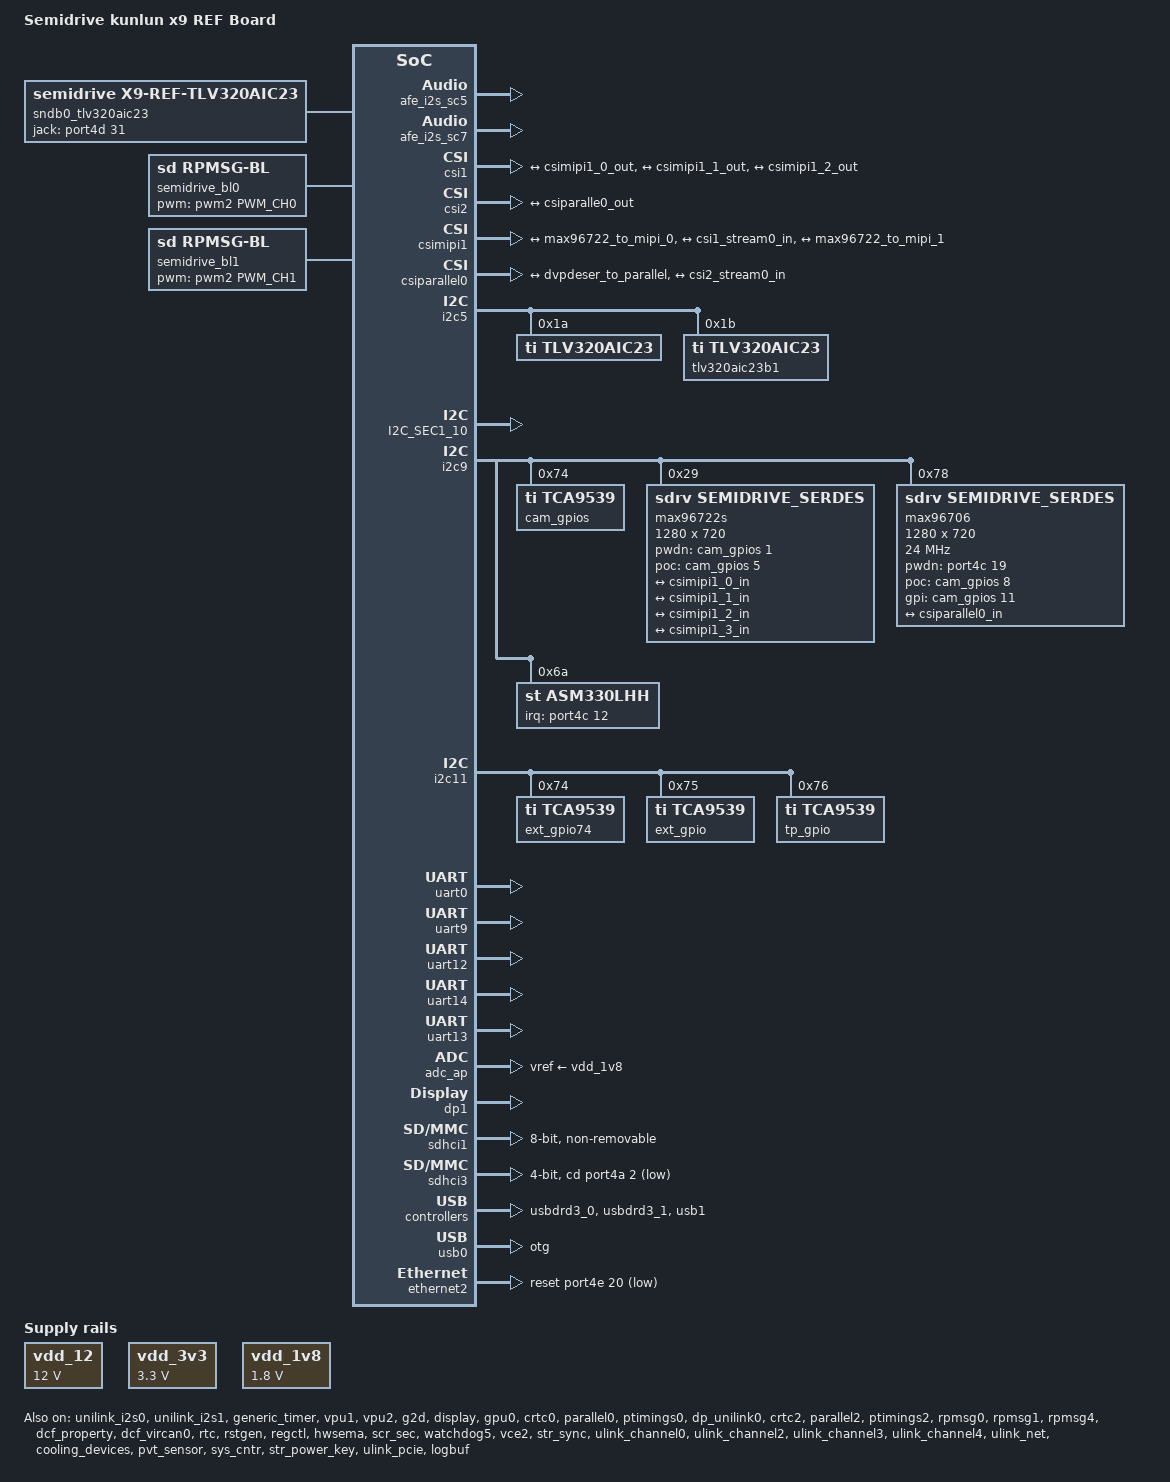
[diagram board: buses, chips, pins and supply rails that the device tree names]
/*
 * Semidrive kunlun platform DTS file
 *
 * Copyright (C) 2019, Semidrive  Communications Inc.
 *
 * This file is licensed under a dual GPLv2 or X11 license.
 */

/dts-v1/;

#include "x9_ultra_ecockpit.dtsi"
#include "x9_ultra_ref_ivi-clk-ctrl_b.dtsi"
#include "lcd-timings.dtsi"
#include <dt-bindings/pinctrl/pins-sdx9.h>
#include <dt-bindings/memmap/x9_ultra/projects/cain1_virt_emmc/side_b/image_cfg.h>
#include <dt-bindings/memory/sdrv_ion.h>
#include <dt-bindings/rpmsg/sd,x9hp-ap1.h>
#include <dt-bindings/backlight/sdrv_backlight.h>
#include <dt-bindings/media/sdrv_csi.h>
#include <dt-bindings/soc/sdrv-unilink-x9u.h>
/ {
	model = "Semidrive kunlun x9 REF Board";

	compatible = "semidrive,kunlun";

	aliases {
		serial0 = &uart14;
		serial1 = &uart9;
		serial2 = &uart12;
		serial3 = &uart13;
		serial4 = &uart0;
		ethernet2 = &ethernet2;
	};

	memory@50000000 {
		device_type = "memory";
		reg = <HIGH32(AP1_REE_MEMBASE + DTB_MEMSIZE) LOW32(AP1_REE_MEMBASE + DTB_MEMSIZE) HIGH32(AP1_KERNEL_MEMSIZE) LOW32(AP1_KERNEL_MEMSIZE) \
		       HIGH32(AP1_2ND_MEMBASE) LOW32(AP1_2ND_MEMBASE) HIGH32(AP1_2ND_MEMSIZE) LOW32(AP1_2ND_MEMSIZE) \
		       0x0 (VDSP_SHARE_MEMBASE+0x4000) 0x0 (VDSP_SHARE_MEMSIZE-0x4000)	\
			   0x0 0x7b000000 0x0 0x1000000>;
	};

	reserved-memory {
		#address-cells = <2>;
		#size-cells = <2>;
		ranges;

		crashdump {
			/* reserve preloader mem for crashdump */
			compatibel = "crashdump";
			reg = <HIGH32(AP1_PRELOADER_MEMBASE) LOW32(AP1_PRELOADER_MEMBASE) 0 AP1_PRELOADER_MEMSIZE>;
		};

		ramoops {
			compatible = "ramoops";
			reg = <HIGH32(AP1_BOARD_RAMDISK_MEMBASE + AP1_BOARD_RAMDISK_MEMSIZE + 0x1000000)
				LOW32(AP1_BOARD_RAMDISK_MEMBASE + AP1_BOARD_RAMDISK_MEMSIZE + 0x1000000) 0x0 0x100000>;
			record-size = <0x60000>;
			console-size = <0x40000>;
			ftrace-size = <0x20000>;
			pmsg-size = <0x40000>;
		};

		/* Default Common CMA Pool */
		/* QUIRK: Must be kept in the lower 4096 MiBs of DRAM banks for VE */
		linux,cma {
			compatible = "shared-dma-pool";
			reusable;
			size = <0x0 0x40000000>; /* 1G */
			/* 4GB maximum in case of 32-bit only capable devices */
			alloc-ranges = <0x0 0x0 0x0 0xffffffff>;
			linux,cma-default;
		};

		rproc_0_safety: rproc@0 {
			compatible = "shared-dma-pool";
			no-map;
			reg = <0x0 RPMSG0_MEM_POOL_BASE 0x0 RPMSG0_MEM_POOL_SIZE>;
		};

		rproc_1_secure: rproc@1 {
			compatible = "shared-dma-pool";
			no-map;
			reg = <0x0 RPMSG1_MEM_POOL_BASE 0x0 RPMSG1_MEM_POOL_SIZE>;
		};

		rproc_ap: rproc@4 {
			compatible = "shared-dma-pool";
			no-map;
			reg = <0x0 RPMSG3_MEM_POOL_BASE 0x0 RPMSG3_MEM_POOL_SIZE>;
		};

		xrp_reserved: xrp@0 {
			compatible = "shared-dma-pool";
			status = "okay";
			no-map;
			reg = <0x0 VDSP_SHARE_MEMBASE 0x0 0x4000>;
		};

		xrp_shared: xrp,shmem {
			reg = <0x0 (VDSP_SHARE_MEMBASE+0x4000) 0x0 (VDSP_SHARE_MEMSIZE-0x4000)>;
		};
	};

	chosen {
		bootargs = "skip_initramfs noinitrd root=/dev/mmcblk0p15 rootfstype=ext4 rootwait ro init=/sbin/init highres=1 nr_cpus=6 earlycon loglevel=11 console=ttyS0,115200n8 fbcon=map:1 psplash=false";
		stdout-path = "serial0";
	};

	vdd_12: fixed-vdd_12 {
		compatible = "regulator-fixed";
		regulator-name = "vdd_12v";
		regulator-min-microvolt = <12000000>;
		regulator-max-microvolt = <12000000>;
	};

	vdd_3v3: fixed-vdd_3v3 {
		compatible = "regulator-fixed";
		regulator-name = "vdd_3v3";
		regulator-min-microvolt = <3300000>;
		regulator-max-microvolt = <3300000>;
	};

	vdd_1v8: fixed-vdd_1v8 {
		compatible = "regulator-fixed";
		regulator-name = "vdd_1v8";
		regulator-min-microvolt = <1800000>;
		regulator-max-microvolt = <1800000>;
	};

	sndb0_tlv320aic23: sndb0@tlv320aic23 {
		compatible = "semidrive,x9-ref-tlv320aic23";
		semidrive,audio-codec = <&tlv320aic23>;
		semidrive,jack-gpio = <&port4d 31 0>; //SOC_B_I2S_MC_SD3_HP_DET1
		semidrive,unilink_i2s;  //use device 1 as virtual i2s device node
		status = "okay";
	};

	sndb1_tlv320aic23: sndb1@tlv320aic23 {
		compatible = "semidrive,x9-msb1-tlv320aic23";
		semidrive,audio-codec = <&tlv320aic23b1>;
		semidrive,jack-gpio-b1 = <&port4b 29 0>; //SOC_GPIO_C13_HP_DET
		status = "okay";
	};

	vi2s_unilink0: vi2s_unilink@0 {
		compatible = "semidrive,sdrv-i2s-unilink";
		audio-mode = <1>;
		server-ip  = "172.20.2.35";
		server-port = <15535>;
		local-port = <15535>;
		buffer-size = <4096>;
		status = "okay";
	};

	vi2s_unilink1: vi2s_unilink@1 {
		compatible = "semidrive,sdrv-i2s-unilink";
		audio-mode = <0>;
		server-ip  = "172.20.2.32";
		server-port = <8155>;
		local-port = <8155>;
		buffer-size = <4096>;
		status = "okay";
	};

	sound_remote: sound@remote {
		compatible = "semidrive,x9-ref-mach-remote";
		status = "disabled";
	};

	semidrive_ts0:semidrive_ts@0 {
		mboxes = <&mbox 0x70 0x7000>;
		touchscreen-id = /bits/ 16 <0>;
		compatible = "sd,safetouch";
	};
	semidrive_ts1:semidrive_ts@1 {
		mboxes = <&mbox 0x71 0x7100>;
		touchscreen-id = /bits/ 16 <1>;
		compatible = "sd,safetouch";
	};
	semidrive_ts2:semidrive_ts@2 {
		mboxes = <&mbox 0x72 0x7200>;
		touchscreen-id = /bits/ 16 <2>;
		compatible = "sd,safetouch";
	};
	semidrive_ts3:semidrive_ts@3 {
		mboxes = <&mbox 0x73 0x7300>;
		touchscreen-id = /bits/ 16 <3>;
		compatible = "sd,safetouch";
	};

	semidrive_bl0: panel0-backlight {
		compatible = "sd,rpmsg-bl"; /*"sd,rpmsg-bl" for rpmsg; "pwm-backlight" for native*/
		bl_screen-id = /bits/ 32 <1>;
		pwms = <&pwm2 PWM_CH0 PWM_FREQUENCY PWM_POLARITY_INVERSED>;
		brightness-levels = <0 1 2 3 4 5 6 7 8 9 10 11 12 13 14 15 16
							 17 18 19 20 21 22 23 24 25 26 27 28 29 30
							 31 32 33 34 35 36 37 38 39 40 41 42 43 44
							 45 46 47 48 49 50 51 52 53 54 55 56 57 58
							 59 60 61 62 63 64 65 66 67 68 69 70 71 72
							 73 74 75 76 77 78 79 80 81 82 83 84 85 86
							 87 88 89 90 91 92 93 94 95 96 97 98 99 100>;
		default-brightness-level = <70>;
		status = "okay";
	};

	semidrive_bl1: panel1-backlight {
		compatible = "sd,rpmsg-bl"; /*"sd,rpmsg-bl" for rpmsg; "pwm-backlight" for native*/
		bl_screen-id = /bits/ 32 <2>;
		pwms = <&pwm2 PWM_CH1 PWM_FREQUENCY PWM_POLARITY_INVERSED>;
		brightness-levels = <0 1 2 3 4 5 6 7 8 9 10 11 12 13 14 15 16
							 17 18 19 20 21 22 23 24 25 26 27 28 29 30
							 31 32 33 34 35 36 37 38 39 40 41 42 43 44
							 45 46 47 48 49 50 51 52 53 54 55 56 57 58
							 59 60 61 62 63 64 65 66 67 68 69 70 71 72
							 73 74 75 76 77 78 79 80 81 82 83 84 85 86
							 87 88 89 90 91 92 93 94 95 96 97 98 99 100>;
		default-brightness-level = <70>;
		status = "okay";
	};

	str_power_key: str_power_key {
		compatible = "sd,str-power-key";
		reg = <0x0 (SAF_AP1_MEMBASE+0x10000000+0x100000) 0x0 0x1000>;
		status = "okay";
	};

	semidrive_cs:semidrive_cs {
		compatible = "sd,sdrv_dummy";
		dev_id = /bits/ 16 <0>;
		type = "sdrv-kstream-0";
		server-ip = "172.20.2.32";
		server-port = <17217>;
		status = "okay";
	};

	ulink_pcie: ulink_pcie {
		compatible = "sd,ulink-pcie-ep";
		reg = <0x0 0x310c8000 0x0 0x2000>;
		channel = <1>;
		status = "okay";
	};

	simulated_display0: simulated_display {
		compatible = "sd,sdrv-simu-disp";

		server-ip = "172.20.2.35";
		server-port = <17219>;
		port = <17220>;
		name-suffix = "disp";

		status = "okay";
	};

	logbuf {
		compatible = "semidrive, logbuf";
		reg = <0x0 (SEC_MEMBASE + 0x10000000) 0x0 0x200000>;
		regctl = <&regctl SDRV_REG_EXCEPTION>;
		status = "okay";
	};

        time_sync: time_sync {
                compatible = "sd,time-sync";
                mboxes = <&mbox 0xbd 0xbd00>,<&mbox 0xbd 0xbd01>,
                                <&mbox 0xbd 0xbd02>,<&mbox 0xbd 0xbd03>,
                                <&mbox 0xbd 0xbd04>;
                rproc = <3>;
                sendto = <1 0 0 0 0>;
                master = <1>;
                status = "okay";
        };

	safety_virtio {
		compatible = "sd,virtio-service";
		reg = <0x0 (SAF_AP1_MEMBASE+0x10000000+0x100000+0x20000) \
		       0x0 0x40000>;
		mboxes = <&mbox 0xe2 0xe200>;
		status = "disabled";
	};
	secure_virtio {
		compatible = "sd,virtio-service";
		reg = <0x0 (SEC_AP1_MEMBASE+0x10000000+0x100000+0x20000) \
		       0x0 0x40000>;
		mboxes = <&mbox 0xe6 0xe601>;
		status = "disabled";
	};
};

&unilink_i2s0 {
	semidrive,stream-id = <0x01>;
	status = "okay";
};

&unilink_i2s1 {
	semidrive,stream-id = <0x08>;
	semidrive,audio-stream;
	status = "okay";
};

&semidrive_ts0 {
	status = "disabled";
};
&semidrive_ts1 {
	status = "disabled";
};
&semidrive_ts2 {
	status = "disabled";
};
&semidrive_ts3 {
	status = "disabled";
};

&pwm2 {
	sd,playback-num-chan = <2>;
	#pwm-cells = <3>;
	status = "disabled";
};

&dmac4 {
	status = "okay";
};

&dmac5 {
	status = "okay";
};

&dmac6 {
	status = "okay";
};

&afe_i2s_sc2{
	dmas = <&dmac4 X9_DMA_SLV_ID_I2S_SC3_TX>, <&dmac4 X9_DMA_SLV_ID_I2S_SC3_RX>;
	dma-names = "tx", "rx";
	status = "disabled";
};

&afe_i2s_sc5{
	dmas = <&dmac4 X9_DMA_SLV_ID_I2S_SC6_TX>, <&dmac4 X9_DMA_SLV_ID_I2S_SC6_RX>;
	dma-names = "tx", "rx";
	status = "okay";
};

&afe_i2s_sc7{
	dmas = <&dmac4 X9_DMA_SLV_ID_I2S_SC8_TX>, <&dmac4 X9_DMA_SLV_ID_I2S_SC8_RX>;
	dma-names = "tx", "rx";
	status = "okay";
};

&rfkill{
		bt_en = <&port4c 12 0>;
		status = "disabled";
	 };
&csi0 {
	mbus-type = "mipi-csi2";
	pclk-sample = <1>;
	status = "disabled";
	skip_frame = <1>;

	ports {
		csi0_stream0: port@0 {
			csi0_stream0_in: endpoint@0 {
				remote-endpoint = <&csimipi0_0_out>;
			};
		};
		csi0_stream1: port@1 {
			csi0_stream1_in: endpoint@0 {
				remote-endpoint = <&csimipi0_1_out>;
			};
		};
		csi0_stream2: port@2 {
			csi0_stream2_in: endpoint@0 {
				remote-endpoint = <&csimipi0_2_out>;
			};
		};
		csi0_stream3: port@3 {
			csi0_stream3_in: endpoint@0 {
				remote-endpoint = <&csimipi0_3_out>;
			};
		};
	};
};

&csi1 {
	mbus-type = "mipi-csi2";
	pclk-sample = <1>;
	status = "okay";

	ports {
		csi1_stream0: port@0 {
			csi1_stream0_in: endpoint@0 {
				remote-endpoint = <&csimipi1_0_out>;
			};
		};
		csi1_stream1: port@1 {
			csi1_stream1_in: endpoint@0 {
				remote-endpoint = <&csimipi1_1_out>;
			};
		};
		csi1_stream2: port@2 {
			csi1_stream2_in: endpoint@0 {
				remote-endpoint = <&csimipi1_2_out>;
			};
		};
		csi1_stream3: port@3 {
			csi1_stream3_in: endpoint@0 {
				remote-endpoint = <&csimipi1_3_out>;
			};
		};
	};
};
&csi2 {
	mbus-type = "parallel";
	pclk-sample = <0>;
	status = "okay";

	ports {
		csi2_stream0: port@0 {
			csi2_stream0_in: endpoint@0 {
				remote-endpoint = <&csiparalle0_out>;
			};
		};

	};
};
&csimipi0 {
	status = "disabled";
	lanerate = <576000000>;
	lanecount = <4>;
	hsa = <10>;
	hbp = <20>;
	hsd = <0x60>;
	output-type = <0x1e>;

	ports {
		#address-cells = <1>;
		#size-cells = <0>;

		port@0 {
			#address-cells = <1>;
			#size-cells = <0>;
			reg = <0>;
			csimipi0_0_in: endpoint@0 {
				remote-endpoint = <&max96722b1_to_mipi_0>;
				reg = <0>;
			};
			csimipi0_0_out: endpoint@1 {
				remote-endpoint = <&csi0_stream0_in>;
				reg = <0>;
			};
		};
		port@1 {
			#address-cells = <1>;
			#size-cells = <0>;
			reg = <1>;
			csimipi0_1_in: endpoint@0 {
				remote-endpoint = <&max96722b1_to_mipi_1>;
				reg = <1>;
			};
			csimipi0_1_out: endpoint@1 {
				remote-endpoint = <&csi0_stream1_in>;
				reg = <1>;
			};
		};
		port@2 {
			#address-cells = <1>;
			#size-cells = <0>;
			reg = <2>;
			csimipi0_2_in: endpoint@0 {
				remote-endpoint = <&max96722b1_to_mipi_2>;
				reg = <2>;
			};
			csimipi0_2_out: endpoint@1 {
				remote-endpoint = <&csi0_stream2_in>;
				reg = <2>;
			};
		};
		port@3 {
			#address-cells = <1>;
			#size-cells = <0>;
			reg = <3>;
			csimipi0_3_in: endpoint@0 {
				remote-endpoint = <&max96722b1_to_mipi_3>;
				reg = <3>;
			};
			csimipi0_3_out: endpoint@1 {
				remote-endpoint = <&csi0_stream3_in>;
				reg = <3>;
			};
		};
	};
};
&csimipi1 {
	status = "okay";
	lanerate = <576000000>;
	lanecount = <4>;
	hsa = <10>;
	hbp = <20>;
	hsd = <0x60>;
	output-type = <0x1e>;

	ports {
		#address-cells = <1>;
		#size-cells = <0>;

		port@0 {
			#address-cells = <1>;
			#size-cells = <0>;
			reg = <0>;
			csimipi1_0_in: endpoint@0 {
				remote-endpoint = <&max96722_to_mipi_0>;
				reg = <0>;
			};
			csimipi1_0_out: endpoint@1 {
				remote-endpoint = <&csi1_stream0_in>;
				reg = <0>;
			};
		};
		port@1 {
			#address-cells = <1>;
			#size-cells = <0>;
			reg = <1>;
			csimipi1_1_in: endpoint@0 {
				remote-endpoint = <&max96722_to_mipi_1>;
				reg = <1>;
			};
			csimipi1_1_out: endpoint@1 {
				remote-endpoint = <&csi1_stream1_in>;
				reg = <1>;
			};
		};
		port@2 {
			#address-cells = <1>;
			#size-cells = <0>;
			reg = <2>;
			csimipi1_2_in: endpoint@0 {
				remote-endpoint = <&max96722_to_mipi_2>;
				reg = <2>;
			};
			csimipi1_2_out: endpoint@1 {
				remote-endpoint = <&csi1_stream2_in>;
				reg = <2>;
			};
		};
		port@3 {
			#address-cells = <1>;
			#size-cells = <0>;
			reg = <3>;
			csimipi1_3_in: endpoint@0 {
				remote-endpoint = <&max96722_to_mipi_3>;
				reg = <3>;
			};
			csimipi1_3_out: endpoint@1 {
				remote-endpoint = <&csi1_stream3_in>;
				reg = <3>;
			};
		};
	};
};

&csiparallel0 {
	status = "okay";
	#address-cells = <1>;
	#size-cells = <0>;

	port {
		#address-cells = <1>;
		#size-cells = <0>;
		reg = <0>;
		csiparallel0_in: endpoint@0 {
			remote-endpoint = <&dvpdeser_to_parallel>;
		};

		csiparallel0_out: endpoint@1 {
			remote-endpoint = <&csi2_stream0_in>;
		};
	};
};

&i2c5 {
        status = "okay";

		tlv320aic23: codec@1a {
			compatible = "ti,tlv320aic23";
			reg = <0x1a>;
		};

		tlv320aic23b1: codec@1b {
			compatible = "ti,tlv320aic23";
			reg = <0x1b>;
		};
};

&i2c6 {
        status = "disabled";
};

&i2c7 {
        status = "disabled";
};

&i2c8 {
	status = "disabled";

	max96722b1:max96722b1@29 {
		compatible = "sdrv,semidrive_serdes";
		reg = <0x29>;
		pwdn-gpios = <&cam_gpio 2 0>;
		poc-gpios = <&cam_gpio 7 0>;
		width = <1280>;
		height = <720>;
		poc_addr = <0x28>;
		ser_addr = <0x40>;
		cam_module = "max96722_fengjing_MC163_MAX96705_720p";

		ports {
			#address-cells = <1>;
			#size-cells = <0>;
			port@0 {
				#address-cells = <1>;
				#size-cells = <0>;
				reg = <0>;
				remap_ser_addr = <0x48>;

				max96722b1_to_mipi_0: endpoint@0 {
					remote-endpoint = <&csimipi0_0_in>;
				};
			};
			port@1 {
				#address-cells = <1>;
				#size-cells = <0>;
				reg = <1>;
				remap_ser_addr = <0x49>;

				max96722b1_to_mipi_1: endpoint@0 {
					remote-endpoint = <&csimipi0_1_in>;
				};
			};
			port@2 {
				#address-cells = <1>;
				#size-cells = <0>;
				reg = <2>;
				remap_ser_addr = <0x4a>;

				max96722b1_to_mipi_2: endpoint@0 {
					remote-endpoint = <&csimipi0_2_in>;
				};
			};
			port@3 {
				#address-cells = <1>;
				#size-cells = <0>;
				reg = <3>;
				remap_ser_addr = <0x4b>;

				max96722b1_to_mipi_3: endpoint@0 {
					remote-endpoint = <&csimipi0_3_in>;
				};
			};
		};
	};

	cam_gpio: gpio@20 {
		compatible = "ti,tca6408";
		reg = <0x20>;
		#gpio-cells = <2>;
		gpio-controller;
	};
};

&I2C_SEC1_10 {
        status = "okay";
};


&i2c9 {
	status = "okay";

	cam_gpios: gpio@74 {
		compatible = "ti,tca9539";
		reg = <0x74>;
		#gpio-cells = <2>;
		gpio-controller;
	};
	max96722s:max96722s@29 {
		compatible = "sdrv,semidrive_serdes";
		reg = <0x29>;
		width = <1280>;
		height = <720>;
		pwdn-gpios = <&cam_gpios 1 0>;
		poc-gpio = <&cam_gpios 5 0>;
		poc_addr = <0x28>;
		ser_addr = <0x40>;
		cam_module = "max96722_fengjing_MC163_MAX96705_720p";
		ports {
			#address-cells = <1>;
			#size-cells = <0>;
			port@0 {
				#address-cells = <1>;
				#size-cells = <0>;
				reg = <0>;
				remap_ser_addr = <0x48>;
				max96722_to_mipi_0: endpoint@0 {
					remote-endpoint = <&csimipi1_0_in>;
				};
			};
			port@1 {
				#address-cells = <1>;
				#size-cells = <0>;
				reg = <1>;
				remap_ser_addr = <0x49>;
				max96722_to_mipi_1: endpoint@0 {
					remote-endpoint = <&csimipi1_1_in>;
				};
			};
			port@2 {
				#address-cells = <1>;
				#size-cells = <0>;
				reg = <2>;
				remap_ser_addr = <0x4a>;
				max96722_to_mipi_2: endpoint@0 {
					remote-endpoint = <&csimipi1_2_in>;
				};
			};
			port@3 {
				#address-cells = <1>;
				#size-cells = <0>;
				reg = <3>;
				remap_ser_addr = <0x4b>;
				max96722_to_mipi_3: endpoint@0 {
					remote-endpoint = <&csimipi1_3_in>;
				};
			};
		};
	};
	max96706:max96706@78 {
		compatible = "sdrv,semidrive_serdes";
		clock-frequency = <24000000>;
		#address-cells = <1>;
		#size-cells = <0>;
		reg = <0x78>;
		width = <1280>;
		height = <720>;
		ser_addr = <0x40>;
		pwdn-gpios = <&port4c 19 0>;
		poc-gpios = <&cam_gpios 8 0>;
		gpi-gpios = <&cam_gpios 11 0>;
		cam_module = "max96706_fengjing_MC163_MAX96705_720p";
		port {
			#address-cells = <1>;
			#size-cells = <0>;
			reg = <0>;
			remap_ser_addr = <0x4c>;
			dvpdeser_to_parallel: endpoint@0 {
				remote-endpoint = <&csiparallel0_in>;
			};
		};
	};
	asm330lhh:asm330lhh@6a {
		compatible = "st,asm330lhh";
		reg = <0x6a>;
		interrupt-parent = <&port4c>; /* ap1 gpio76 */
		interrupts = <12 IRQ_TYPE_LEVEL_HIGH>;
		st,int-pin = <2>;
		drive-open-drain; /*for int2 pin*/
        };
};

&I2C_SEC1_10 {
        status = "okay";
};

&i2c10 {
        status = "disabled";
	gt9271_11_j35:gt9271_11_j35@5d {
		//pinctrl-names = "default";
		//pinctrl-0 = <&pinctrl_gpiotouch_mipi>;
		compatible = "goodix,gt9271";
		irq-gpios = <&port4e 17 0>;	/*io97*/
		reset-gpios = <&tp_gpio 2 0>;	/*index 2*/
		reg = <0x5d>;
	};
};

&i2c11 {
	status = "okay";

	ext_gpio74: gpio@74 {
		compatible = "ti,tca9539";
		reg = <0x74>;
		#gpio-cells = <2>;
		gpio-controller;
	};
	ext_gpio: gpio@75 {
		compatible = "ti,tca9539";
		reg = <0x75>;
		#gpio-cells = <2>;
		gpio-controller;
	};
	tp_gpio: gpio@76 {
		compatible = "ti,tca9539";
		reg = <0x76>;
		#gpio-cells = <2>;
		gpio-controller;
	};
};

&i2c13 {
        status = "disabled";

        serdes_gt9xx_14_j34:touch@5d {
		compatible = "sdrv,ds947_ds948_gt9xx";
		irq-gpios = <&port4e 0 0>;	/*io80*/
		reset-gpios = <&ext_gpio 1 0>;	/*index 1*/
		reg = <0x5d>;
		dev_type = <0>;	/* 0: main device, 1: aux device */
		addr_ds947 = <0x1a>;
		addr_ds948 = <0x2c>;
	};

};

&i2c14 {
	status = "disabled";

	gt9271_15_j33:touch@14 {
		//pinctrl-names = "default";
		//pinctrl-0 = <&pinctrl_gpiotouch_lvds>;
		compatible = "goodix,gt9271";
		irq-gpios = <&port4e 3 0>;	/*io83*/
		reset-gpios = <&ext_gpio 7 0>;		/*index 7*/
		reg = <0x14>;
		dev_type = <1>;	/* 0: main device, 1: aux device */
	};
};

&i2c15 {
	status = "disabled";
	sync_enable = <1>;

	siw4101_main:touch@50 {
		compatible = "siw,sw4101";
		reg = <0x50>;
		interrupt-parent = <&port4e>;
		interrupts = <16 0>;
		acdc,x_resolution = <1920>;
		acdc,y_resolution = <1200>;
		addr_ds941 = <0x0c>;
		addr_ds948 = <0x2c>;
		irq_channel = <3>;
		reset_channel = <2>;
	};

	siw4101_aux:touch@51 {
		compatible = "siw,sw4101";
		reg = <0x51>;
		interrupt-parent = <&port4e>;
		interrupts = <17 0>;
		acdc,x_resolution = <1920>;
		acdc,y_resolution = <1200>;
		addr_ds941 = <0x0d>;
		addr_ds948 = <0x34>;
		irq_channel = <3>;
		reset_channel = <2>;
	};

	serdes_gt9xx_16_j35:touch@5d {
		compatible = "sdrv,ds941_ds948_gt9xx";
		irq-gpios = <&port4e 16 0>;	/*io96*/
		reset-gpios = <&tp_gpio 1 0>;	/*index 1*/
		reg = <0x5d>;
		dev_type = <0>;	/* 0: main device, 1: aux device */
		addr_ds941 = <0x0c>;
		addr_ds948 = <0x2c>;
		irq_channel = <3>;
		reset_channel = <2>;
	};

	serdes_gt9xx_16_j35a:touch@14 {
		compatible = "sdrv,ds941_ds948_gt9xx";
		irq-gpios = <&port4e 17 0>;	/*io97*/
		reset-gpios = <&tp_gpio 2 0>;	/*index 2*/
		reg = <0x14>;
		dev_type = <1>;	/* 0: main device, 1: aux device */
		addr_ds941 = <0x0d>;
		addr_ds948 = <0x3c>;
		irq_channel = <3>;
		reset_channel = <2>;
	};
};

&spi4 {
	status = "disabled";
};

&spi5 {
	status = "disabled";
};

&spi6 {
	status = "disabled";
};

&spi7 {
	status = "disabled";
};

&uart0 {
	status = "okay";
};

&uart9 {
	status = "okay";
};

&uart12 {
	status = "okay";
};

&uart14 {
	dmas = <&dmac4 X9_DMA_SLV_ID_UART15_TX>, <&dmac4 X9_DMA_SLV_ID_UART15_RX>;
	dma-names = "tx", "rx";
	status = "okay";
};

&uart13 {
	status = "okay";
};

&generic_timer {
	status = "okay";
};

&adc_ap {
	resolution_value = <0x03>; /*ADC_6_BITS_E0 = 0x00 , ADC_8_BITS_E1 = 0x01 , ADC_10_BITS_E2 = 0x02 , ADC_12_BITS_E3 = 0x03*/
	clksrc_sel = <0x00>; /*ADC_SRC_CLK_ALT_E0 = 0x00 , ADC_SRC_CLK_PCLK_E1 = 0x01 , ADC_SRC_CLK_EXT_E2 = 0x02*/
	clk_value = <24000000>;
	channel_num = <8>;
	use-adc-fifo;
	vref-supply = <&vdd_1v8>;
	status = "okay";
};

&vpu1 {
	resets = <&rstgen RSTGEN_MODULE_VPU1>;
	reset-names = "vpu-reset";
	status = "okay";
};

&vpu2 {
	resets = <&rstgen RSTGEN_MODULE_VPU2>;
	reset-names = "vpu-reset";
	status = "okay";
};

&g2d {
	status = "okay";
};

&display {
	sdriv,crtc = <&crtc0 &crtc2>;
	status = "okay";
};

&gpu0 {
	status = "okay";
};

&dp1 {
	status = "okay";
};

&crtc0 {
	dpc-master = <&dp1>;
	status = "okay";
};

&parallel0 {
	status = "okay";
};

&dtimings0 {
	native-mode = <&hsd_fhd1920x720_60>;
};

&ptimings0 {
	status = "okay";
};

&dp_unilink0 {
	status = "okay";

	producer-port = <17219>;
	consumer-port = <17220>;
	consumer-ip = "172.20.2.35";
	cycle-buffer;
};

&crtc2 {
	dpc-master = <&dp_unilink0>;
	status = "okay";
};

&parallel2 {
	connector-mode = <21>;
	status = "okay";
};

&dtimings2 {
	native-mode = <&hsd_fhd1920x720_2>;
};

&ptimings2 {
	status = "okay";
};

&pinctrl {
	reg = <0x0 0x37000000 0x0 0x10000>;
	pinctrl-names = "default";

	sdx9-evk {
		pinctrl_mshc1: mshc1grp {
		kunlun,pins = <
			X9_PINCTRL_EMMC1_CLK__MSHC1_CLK_1 		X9_PINCTRL_OPEN_DRAIN_DISABLE
			X9_PINCTRL_EMMC1_CMD__MSHC1_CMD_1		X9_PINCTRL_OPEN_DRAIN_DISABLE
			X9_PINCTRL_EMMC1_DATA0__MSHC1_DATA_0_1	X9_PINCTRL_OPEN_DRAIN_DISABLE
			X9_PINCTRL_EMMC1_DATA1__MSHC1_DATA_1_1	X9_PINCTRL_OPEN_DRAIN_DISABLE
			X9_PINCTRL_EMMC1_DATA2__MSHC1_DATA_2_1	X9_PINCTRL_OPEN_DRAIN_DISABLE
			X9_PINCTRL_EMMC1_DATA3__MSHC1_DATA_3_1	X9_PINCTRL_OPEN_DRAIN_DISABLE
			X9_PINCTRL_EMMC1_DATA4__MSHC1_DATA_4_1	X9_PINCTRL_OPEN_DRAIN_DISABLE
			X9_PINCTRL_EMMC1_DATA5__MSHC1_DATA_5_1	X9_PINCTRL_OPEN_DRAIN_DISABLE
			X9_PINCTRL_EMMC1_DATA6__MSHC1_DATA_6_1	X9_PINCTRL_OPEN_DRAIN_DISABLE
			X9_PINCTRL_EMMC1_DATA7__MSHC1_DATA_7_1	X9_PINCTRL_OPEN_DRAIN_DISABLE
			X9_PINCTRL_EMMC1_STROBE__MSHC1_STB_1		X9_PINCTRL_OPEN_DRAIN_ENABLE
			X9_PINCTRL_EMMC1_RESET_N__MSHC1_RST_N_1	X9_PINCTRL_OPEN_DRAIN_DISABLE
			>;
		};

		pinctrl_gpiotouch_lvds: touchgrp_lvds {
                        kunlun,pins = <
			X9_PINCTRL_I2S_MC_SD4__GPIO_MUX2_IO80_1          0x00
			X9_PINCTRL_I2S_MC_SD5__GPIO_MUX2_IO81_1          0x00
                        X9_PINCTRL_I2S_MC_SD6__GPIO_MUX2_IO82_1          0x00
                        X9_PINCTRL_I2S_MC_SD7__GPIO_MUX2_IO83_1          0x00
                        >;
                };
		pinctrl_gpiotouch_mipi: touchgrp_mipi {
                        kunlun,pins = <
			X9_PINCTRL_EMMC2_CLK__GPIO_MUX2_IO96_1          0x00
			X9_PINCTRL_EMMC2_CMD__GPIO_MUX2_IO97_1          0x00
                        >;
                };
	};
};

&gpio4 {
	//pinctrl-names = "default";
	//pinctrl-0 = <&pinctrl_gpiotouch_lvds &pinctrl_gpiotouch_mipi>;
	status = "okay";
};

&sdhci1 {
	bus-width = <8>;
	non-removable;
	no-sdio;
	no-sd;
	card-is-emmc;
	disable-wp;
	cap-mmc-highspeed;
	keep-power-in-suspend;
	mmc-ddr-1_8v;
	mmc-hs200-1_8v;
	mmc-hs400-1_8v;
	mmc-hs400-enhanced-strobe;
	status = "okay";
};

&sdhci3 {
	#clock-cells = <1>;
	clocks = <&EMMC3>;
	clock-names = "core";
	max-frequency = <200000000>;
	cd-gpios = <&port4a 2 GPIO_ACTIVE_LOW>;
	bus-width = <4>;
	no-mmc;
	no-sdio;
	cap-sd-highspeed;
	sd-uhs-sdr104;
	disable-wp;
	keep-power-in-suspend;
	status = "okay";
};

&mbox {
	status = "okay";
};

&mbox_test {
	status = "okay";
};

&rpmsg0 {
	memory-region = <&rproc_0_safety>;
	reg = <0x0 RPMSG0_MEM_HEAD_BASE 0x0 RPMSG0_MEM_HEAD_SIZE>;
	status = "okay";
};

&rpmsg1 {
	memory-region = <&rproc_1_secure>;
	reg = <0x0 RPMSG1_MEM_HEAD_BASE 0x0 RPMSG1_MEM_HEAD_SIZE>;
	status = "okay";
};

&rpmsg4 {
	memory-region = <&rproc_ap>;
	reg = <0x0 RPMSG3_MEM_HEAD_BASE 0x0 RPMSG3_MEM_HEAD_SIZE>;
	status = "okay";
};

&ipcc0 {
	status = "okay";
};

&ipcc1 {
	status = "okay";
};

&dcf_property {
	status = "okay";
};

&dcf_vircan0 {
	status = "okay";
};

&smmu {
	status = "disabled";
};

&rtc {
	status = "okay";
};

&usbdrd3_0 {
	status = "okay";
};

&usb0 {
	dr_mode = "otg";
	status = "okay";
};

&usbdrd3_1 {
	status = "okay";
};

&usb1 {
	status = "okay";
};

&ethernet2 {
	snps,reset-active-low;
	snps,reset-delays-us = <0 20000 3000>;
	snps,reset-gpio = <&port4e 20 0>;
	status = "okay";
};

&eth_phy2 {
	compatible = "ethernet-phy-id001c.cb30", "ethernet-phy-ieee802.3-c22";
	dr_mode = "slave";
	maximum-speed = "1000M-speed";
	reg = <0>;
};

&rstgen {
	reg = <0x0 0x38467000 0x0 0x1000>,	/* vpu1 */
		<0x0 0x38468000 0x0 0x1000>,	/* vpu2 */
		<0x0 0x38490000 0x0 0x1000>,	/* gpu1 core */
		<0x0 0x38491000 0x0 0x1000>,	/* gpu1 ss */
		<0x0 0x38461000 0x0 0x1000>,	/* GIC4 */
		<0x0 0x38455000 0x0 0x1000>,	/* cpu1 core0 warm */
		<0x0 0x38456000 0x0 0x1000>,	/* cpu1 core1 warm */
		<0x0 0x38457000 0x0 0x1000>,	/* cpu1 core2 warm */
		<0x0 0x38458000 0x0 0x1000>,	/* cpu1 core3 warm */
		<0x0 0x38459000 0x0 0x1000>,	/* cpu1 core4 warm */
		<0x0 0x3845a000 0x0 0x1000>,	/* cpu1 core5 warm */
		<0x0 0x3845b000 0x0 0x1000>,	/* cpu1 scu warm */
		<0x0 0x3846d000 0x0 0x1000>,	/* cpu1 ss */
		<0x0 0x38407000 0x0 0x2000>;	/* cpu1 all core */
	rstgen_resource = <
		RSTGEN_MODULE_VPU1
		RSTGEN_MODULE_VPU2
		RSTGEN_MODULE_GPU1_CORE
		RSTGEN_MODULE_GPU1_SS
		RSTGEN_MODULE_GIC4
		RSTGEN_MODULE_CPU1_CORE0_WARM
		RSTGEN_MODULE_CPU1_CORE1_WARM
		RSTGEN_MODULE_CPU1_CORE2_WARM
		RSTGEN_MODULE_CPU1_CORE3_WARM
		RSTGEN_MODULE_CPU1_CORE4_WARM
		RSTGEN_MODULE_CPU1_CORE5_WARM
		RSTGEN_MODULE_CPU1_SCU_WARM
		RSTGEN_MODULE_CPU1_SS
		RSTGEN_CORE_CPU1_ALL
		>;
	status = "okay";
};

&regctl {
	reg = <0x0 0x38415000 0x0 0x1000>,
		<0x0 0x38418000 0x0 0x1000>,
		<0x0 0x38419000 0x0 0x1000>,
		<0x0 0x3841a000 0x0 0x1000>,
		<0x0 0x3841b000 0x0 0x1000>;
	reg-names = "SDRV_REG_REMAP",
			"SDRV_REG_BOOTREASON",
			"SDRV_REG_HWID",
			"SDRV_REG_STATUS",
			"SDRV_REG_EXCEPTION";
	status = "okay";
};

&ion {
	status = "disabled";
};

&hwsema {
        status = "okay";
};

&scr_sec {
        status = "okay";
};

&watchdog5 {
	wdt,auto-run = "false";
	status = "okay";
};

&vce2 {
   /*
 	* op-mode options:
 	* bit 0: rng enable(1) or disable(0)
 	* bit 1: ce enable(1) or disable(0)
 	*/
 	op-mode = <3>;
	status = "okay";
};

&str_sync {
	host = <1>;
	status = "okay";
};
&ulink_channel0 {
	reg = <0x0 UNILINK_TX_AP1_TO_SAF_L 0x0 0x200000>,
		<0x0 UNILINK_RX_AP1_TO_SAF_L 0x0 0x200000>;
	status = "okay";
};

&ulink_channel1 {
	reg = <0x0 UNILINK_TX_AP1_TO_AP2_L 0x0 0x200000>,
		<0x0 UNILINK_RX_AP1_TO_AP2_L 0x0 0x200000>;
	status = "disabled";
};

&ulink_channel2 {
	reg = <0x0 UNILINK_TX_AP1_TO_SAF_R 0x0 0x400000>,
		<0x0 UNILINK_RX_AP1_TO_SAF_R 0x0 0x400000>;
	status = "okay";
};

&ulink_channel3 {
	reg = <0x0 UNILINK_TX_AP1_TO_AP1_R 0x0 0x400000>,
		<0x0 UNILINK_RX_AP1_TO_AP1_R 0x0 0x400000>;
	status = "okay";
};

&ulink_channel4 {
	reg = <0x0 UNILINK_TX_AP1_TO_AP2_R 0x0 0x400000>,
		<0x0 UNILINK_RX_AP1_TO_AP2_R 0x0 0x400000>;
	status = "okay";
};

&ulink_net {
	local-mac-address = [66 cd 03 0b 00 0e];
	status = "okay";
};

&cooling_devices {
	status = "okay";
};

&pvt_sensor {
	status = "okay";
};

&sys_cntr {
        status = "okay";
};

